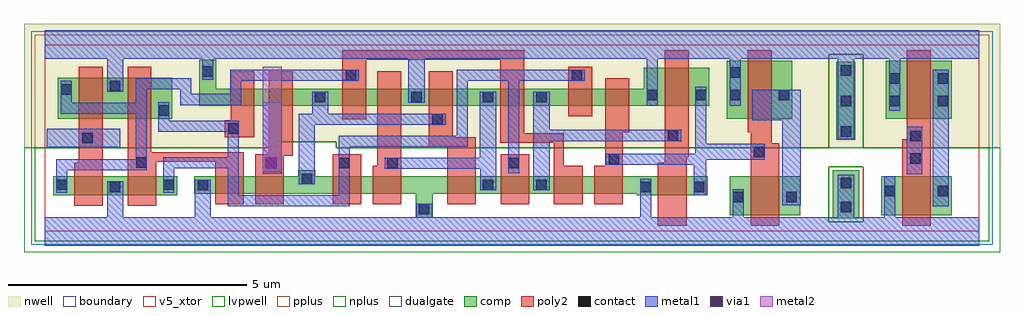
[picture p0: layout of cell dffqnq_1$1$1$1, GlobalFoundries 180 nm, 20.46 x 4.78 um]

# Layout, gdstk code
import gdstk
lib = gdstk.Library(unit=1e-6, precision=5e-09)
def R(c, l, rs):  # rectangles x0, y0, x1, y1
    for r in rs: c.add(gdstk.rectangle(r[:2], r[2:], *l))
def A(c, l, x, y, w, h, nx, ny, dx, dy):  # array of equal rectangles
    R(c, l, [(x+i*dx, y+j*dy, x+i*dx+w, y+j*dy+h) for i in range(nx) for j in range(ny)])
def P(c, l, *ps):  # polygons
    for p in ps: c.add(gdstk.Polygon(p, *l))
boundary = (0, 0)
nwell = (21, 0)
comp = (22, 0)
poly2 = (30, 0)
pplus = (31, 0)
nplus = (32, 0)
contact = (33, 0)
metal1 = (34, 0)
via1 = (35, 0)
metal2 = (36, 0)
dualgate = (55, 0)
v5_xtor = (112, 1)
lvpwell = (204, 0)

gf180mcu_fd_sc_mcu7t5v0_ = lib.new_cell('gf180mcu_fd_sc_mcu7t5v0__dffq_1$1$1$1')
R(gf180mcu_fd_sc_mcu7t5v0_, boundary, [(25.26,9.215,41.5,13.135)])
P(gf180mcu_fd_sc_mcu7t5v0_, nwell, [(24.83,10.975),(24.83,13.565),(41.93,13.565),(41.93,10.975),(31.38,10.975),(31.38,11.1),(30.125,11.1),(30.125,10.975)])
R(gf180mcu_fd_sc_mcu7t5v0_, comp, [(39.62,9.555,41.1,10.375), (25.44,9.97,28.04,10.375), (25.54,11.575,27.94,12.44), (39.56,11.575,40.94,12.795)])
P(gf180mcu_fd_sc_mcu7t5v0_, comp, [(28.5,11.85),(28.5,12.815),(28.86,12.815),(28.86,12.21),(37.82,12.21),(37.82,12.65),(39.2,12.65),(39.2,11.85)],
  [(33.04,9.505),(33.04,10.01),(28.4,10.01),(28.4,10.37),(30.58,10.37),(30.58,10.5),(30.94,10.5),(30.94,10.37),(39.16,10.37),(39.16,9.97),(37.68,9.97),(37.68,10.01),(33.4,10.01),(33.4,9.505)])
R(gf180mcu_fd_sc_mcu7t5v0_, poly2, [(31.3,9.79,31.9,10.835), (34.82,9.79,35.42,10.83), (36.24,11.63,36.74,12.67)])
P(gf180mcu_fd_sc_mcu7t5v0_, poly2, [(40.06,9.335),(40.06,11.295),(40,11.295),(40,13.015),(40.5,13.015),(40.5,11.065),(40.66,11.065),(40.66,9.335)],
  [(38.12,9.335),(38.12,10.655),(38.26,10.655),(38.26,13.015),(38.76,13.015),(38.76,10.77),(38.72,10.77),(38.72,9.335)],
  [(36.78,9.79),(36.78,10.59),(37.02,10.59),(37.02,12.43),(37.52,12.43),(37.52,11.295),(37.38,11.295),(37.38,9.79)],
  [(35.94,9.79),(35.94,11.075),(34.815,11.075),(34.815,12.815),(32,12.815),(32,11.57),(31.5,11.57),(31.5,13.015),(35.315,13.015),(35.315,11.275),(36.14,11.275),(36.14,10.59),(36.54,10.59),(36.54,9.79)],
  [(33.7,9.79),(33.7,10.995),(33.32,10.995),(33.32,12.575),(33.82,12.575),(33.82,11.195),(34.3,11.195),(34.3,9.79)],
  [(32.14,9.79),(32.14,10.59),(32.24,10.59),(32.24,12.575),(32.74,12.575),(32.74,9.79)],
  [(29.68,9.79),(29.68,10.835),(29.96,10.835),(29.96,12.575),(30.46,12.575),(30.46,10.8),(30.28,10.8),(30.28,9.79)],
  [(29.04,11.19),(29.04,11.55),(29.16,11.55),(29.16,12.575),(29.66,12.575),(29.66,11.19)],
  [(27,9.75),(27,12.665),(27.5,12.665),(27.5,10.875),(29.44,10.875),(29.44,9.79),(28.84,9.79),(28.84,10.675),(27.6,10.675),(27.6,9.75)],
  [(25.88,9.75),(25.88,10.655),(25.98,10.655),(25.98,12.665),(26.48,12.665),(26.48,9.75)])
P(gf180mcu_fd_sc_mcu7t5v0_, pplus, [(25.06,10.975),(25.06,13.335),(41.7,13.335),(41.7,10.975),(31.38,10.975),(31.38,11.1),(30.125,11.1),(30.125,10.975)])
P(gf180mcu_fd_sc_mcu7t5v0_, nplus, [(25.06,9.015),(25.06,10.975),(30.125,10.975),(30.125,11.1),(31.38,11.1),(31.38,10.975),(41.7,10.975),(41.7,9.015)])
R(gf180mcu_fd_sc_mcu7t5v0_, contact, [(33.11,9.575,33.33,9.795), (39.69,9.825,39.91,10.045), (40.81,9.825,41.03,10.045), (26.63,10.04,26.85,10.26), (37.75,10.04,37.97,10.26), (38.87,10.04,39.09,10.26), (28.47,10.08,28.69,10.3), (34.45,10.08,34.67,10.3), (35.57,10.08,35.79,10.3), (25.51,10.085,25.73,10.305), (27.75,10.085,27.97,10.305), (30.65,10.21,30.87,10.43), (32.45,10.54,32.67,10.76), (34.985,10.54,35.205,10.76), (29.895,10.545,30.115,10.765), (31.43,10.545,31.65,10.765), (27.18,10.555,27.4,10.775), (37.09,10.62,37.31,10.84), (40.13,10.775,40.35,10.995), (26.05,11.07,26.27,11.29), (38.33,11.115,38.55,11.335), (29.11,11.26,29.33,11.48), (33.39,11.46,33.61,11.68), (27.65,11.645,27.87,11.865), (30.93,11.92,31.15,12.14), (32.95,11.92,33.17,12.14), (34.445,11.92,34.665,12.14), (35.57,11.92,35.79,12.14), (37.89,11.965,38.11,12.185), (38.91,11.965,39.13,12.185), (39.63,11.965,39.85,12.185), (40.65,11.965,40.87,12.185), (25.61,12.085,25.83,12.305), (26.63,12.15,26.85,12.37), (31.57,12.38,31.79,12.6), (36.31,12.38,36.53,12.6), (39.63,12.435,39.85,12.655), (28.57,12.46,28.79,12.68)])
R(gf180mcu_fd_sc_mcu7t5v0_, metal1, [(29.83,10.425,30.235,11.925), (25.91,10.985,26.85,11.365)])
P(gf180mcu_fd_sc_mcu7t5v0_, metal1, [(37.885,11.85),(37.885,12.835),(33.23,12.835),(33.23,11.915),(32.89,11.915),(32.89,12.835),(28.795,12.835),(28.795,12.4),(28.565,12.4),(28.565,12.835),(26.91,12.835),(26.91,12.145),(26.57,12.145),(26.57,12.835),(25.26,12.835),(25.26,13.435),(41.5,13.435),(41.5,12.835),(39.855,12.835),(39.855,11.85),(39.625,11.85),(39.625,12.835),(38.115,12.835),(38.115,11.85)],
  [(25.26,8.915),(25.26,9.515),(26.57,9.515),(26.57,10.265),(26.91,10.265),(26.91,9.515),(28.41,9.515),(28.41,10.305),(28.75,10.305),(28.75,9.515),(33.05,9.515),(33.05,9.8),(33.39,9.8),(33.39,9.515),(37.745,9.515),(37.745,10.32),(37.975,10.32),(37.975,9.515),(39.685,9.515),(39.685,10.105),(39.915,10.105),(39.915,9.515),(41.5,9.515),(41.5,8.915)],
  [(40.73,9.765),(40.73,11.545),(40.095,11.545),(40.095,12.19),(41.11,12.19),(41.11,9.765)],
  [(38.865,9.97),(38.865,10.615),(37.03,10.615),(37.03,10.845),(38.905,10.845),(38.905,12.245),(39.135,12.245),(39.135,11.055),(40.355,11.055),(40.355,10.715),(39.13,10.715),(39.13,9.97)],
  [(35.51,10.075),(35.51,12.145),(35.85,12.145),(35.85,11.345),(38.61,11.345),(38.61,11.11),(35.85,11.11),(35.85,10.075)],
  [(29.105,9.745),(29.105,10.54),(27.975,10.54),(27.975,10.025),(27.745,10.025),(27.745,10.77),(29.105,10.77),(29.105,11.305),(27.645,11.305),(27.645,11.925),(27.875,11.925),(27.875,11.54),(29.335,11.54),(29.335,9.975),(31.425,9.975),(31.425,11.225),(33.9,11.225),(33.9,12.605),(36.59,12.605),(36.59,12.375),(35.21,12.375),(35.21,10.44),(34.98,10.44),(34.98,12.375),(34.13,12.375),(34.13,10.995),(31.655,10.995),(31.655,9.745)],
  [(34.39,10.075),(34.39,10.535),(32.39,10.535),(32.39,10.765),(34.385,10.765),(34.385,12.145),(34.73,12.145),(34.73,10.075)],
  [(30.585,10.205),(30.585,11.685),(30.87,11.685),(30.87,12.145),(31.21,12.145),(31.21,11.685),(33.67,11.685),(33.67,11.455),(30.93,11.455),(30.93,10.205)],
  [(25.505,10.025),(25.505,10.725),(27.175,10.725),(27.175,11.685),(25.605,11.685),(25.605,12.37),(25.835,12.37),(25.835,11.915),(27.175,11.915),(27.175,12.43),(28.335,12.43),(28.335,12.1),(29.15,12.1),(29.15,12.605),(31.85,12.605),(31.85,12.375),(29.38,12.375),(29.38,11.865),(28.105,11.865),(28.105,12.195),(27.405,12.195),(27.405,10.495),(25.735,10.495),(25.735,10.025)])
R(gf180mcu_fd_sc_mcu7t5v0_, dualgate, [(24.98,8.935,41.78,13.415)])
R(gf180mcu_fd_sc_mcu7t5v0_, v5_xtor, [(25.26,9.215,41.5,13.135)])
P(gf180mcu_fd_sc_mcu7t5v0_, lvpwell, [(24.83,8.785),(24.83,10.975),(30.125,10.975),(30.125,11.1),(31.38,11.1),(31.38,10.975),(41.93,10.975),(41.93,8.785)])
gf180mcu_fd_sc_mcu7t5v0_.add(gdstk.Label('CLK', (26.1,11.175), layer=34, texttype=10))
gf180mcu_fd_sc_mcu7t5v0_.add(gdstk.Label('DVSS', (26.66,9.215), layer=34, texttype=10))
gf180mcu_fd_sc_mcu7t5v0_.add(gdstk.Label('DVDD', (26.66,13.135), layer=34, texttype=10))

c_gf180mcu_fd_sc_mcu7t5v0_ = lib.new_cell('gf180mcu_fd_sc_mcu7t5v0__filltie$1$1$1')
R(c_gf180mcu_fd_sc_mcu7t5v0_, boundary, [(24.635,9.215,25.755,13.135)])
R(c_gf180mcu_fd_sc_mcu7t5v0_, nwell, [(24.205,10.975,26.185,13.565)])
R(c_gf180mcu_fd_sc_mcu7t5v0_, comp, [(24.915,9.495,25.475,10.495), (24.995,11.135,25.395,12.775)])
R(c_gf180mcu_fd_sc_mcu7t5v0_, pplus, [(24.835,9.415,25.555,10.575)])
P(c_gf180mcu_fd_sc_mcu7t5v0_, pplus, [(24.435,10.975),(24.435,13.335),(25.955,13.335),(25.955,10.975),(25.555,10.975),(25.555,12.935),(24.835,12.935),(24.835,10.975)])
P(c_gf180mcu_fd_sc_mcu7t5v0_, nplus, [(24.435,9.015),(24.435,10.975),(24.835,10.975),(24.835,12.935),(25.555,12.935),(25.555,10.575),(24.835,10.575),(24.835,9.415),(25.555,9.415),(25.555,12.935),(25.555,10.975),(25.955,10.975),(25.955,9.015)])
A(c_gf180mcu_fd_sc_mcu7t5v0_, contact, 25.085, 11.205, 0.22, 0.22, 1, 3, 0, 0.64)
R(c_gf180mcu_fd_sc_mcu7t5v0_, contact, [(25.085,9.615,25.305,9.835), (25.085,10.12,25.305,10.34)])
P(c_gf180mcu_fd_sc_mcu7t5v0_, metal1, [(25.025,11.145),(25.025,12.835),(24.635,12.835),(24.635,13.435),(25.755,13.435),(25.755,12.835),(25.365,12.835),(25.365,11.145)],
  [(24.635,8.915),(24.635,9.515),(25.025,9.515),(25.025,10.4),(25.365,10.4),(25.365,9.515),(25.755,9.515),(25.755,8.915)])
R(c_gf180mcu_fd_sc_mcu7t5v0_, dualgate, [(24.355,8.935,26.035,13.415)])
R(c_gf180mcu_fd_sc_mcu7t5v0_, v5_xtor, [(24.635,9.215,25.755,13.135)])
R(c_gf180mcu_fd_sc_mcu7t5v0_, lvpwell, [(24.205,8.785,26.185,10.975)])

c_gf180mcu_fd_sc_mcu7t5v0__ = lib.new_cell('gf180mcu_fd_sc_mcu7t5v0__inv_1$1$1$1')
R(c_gf180mcu_fd_sc_mcu7t5v0__, boundary, [(24.265,9.215,26.505,13.135)])
R(c_gf180mcu_fd_sc_mcu7t5v0__, nwell, [(23.835,10.975,26.935,13.565)])
R(c_gf180mcu_fd_sc_mcu7t5v0__, comp, [(24.445,9.555,25.925,10.375), (24.545,11.575,25.925,12.795)])
P(c_gf180mcu_fd_sc_mcu7t5v0__, poly2, [(24.885,9.335),(24.885,11.145),(24.985,11.145),(24.985,13.015),(25.485,13.015),(25.485,9.335)])
R(c_gf180mcu_fd_sc_mcu7t5v0__, pplus, [(24.065,10.975,26.705,13.335)])
R(c_gf180mcu_fd_sc_mcu7t5v0__, nplus, [(24.065,9.015,26.705,10.975)])
R(c_gf180mcu_fd_sc_mcu7t5v0__, contact, [(24.515,9.95,24.735,10.17), (25.635,9.95,25.855,10.17), (25.055,10.635,25.275,10.855), (25.055,11.105,25.275,11.325), (24.615,11.845,24.835,12.065), (25.635,11.845,25.855,12.065), (24.615,12.315,24.835,12.535), (25.635,12.315,25.855,12.535)])
R(c_gf180mcu_fd_sc_mcu7t5v0__, metal1, [(25.53,9.745,25.86,12.605), (24.975,10.415,25.3,11.415)])
P(c_gf180mcu_fd_sc_mcu7t5v0__, metal1, [(24.61,11.745),(24.61,12.835),(24.265,12.835),(24.265,13.435),(26.505,13.435),(26.505,12.835),(24.84,12.835),(24.84,11.745)],
  [(24.265,8.915),(24.265,9.515),(24.51,9.515),(24.51,10.375),(24.74,10.375),(24.74,9.515),(26.505,9.515),(26.505,8.915)])
R(c_gf180mcu_fd_sc_mcu7t5v0__, dualgate, [(23.985,8.935,26.785,13.415)])
R(c_gf180mcu_fd_sc_mcu7t5v0__, v5_xtor, [(24.265,9.215,26.505,13.135)])
R(c_gf180mcu_fd_sc_mcu7t5v0__, lvpwell, [(23.835,8.785,26.935,10.975)])

dffqnq_1_1_1_1 = lib.new_cell('dffqnq_1$1$1$1')
R(dffqnq_1_1_1_1, metal1, [(8.335,10.985,9.755,11.365)])
R(dffqnq_1_1_1_1, via1, [(12.905,10.525,13.165,10.785)])
R(dffqnq_1_1_1_1, metal2, [(12.86,10.47,13.265,12.665)])
dffqnq_1_1_1_1.add(gdstk.Reference(gf180mcu_fd_sc_mcu7t5v0_, (-16.97,0)))
dffqnq_1_1_1_1.add(gdstk.Reference(c_gf180mcu_fd_sc_mcu7t5v0_, (-0.105,0)))
dffqnq_1_1_1_1.add(gdstk.Reference(c_gf180mcu_fd_sc_mcu7t5v0__, (1.385,0)))

lib.write_gds('dffqnq_1_1_1_1.gds')
